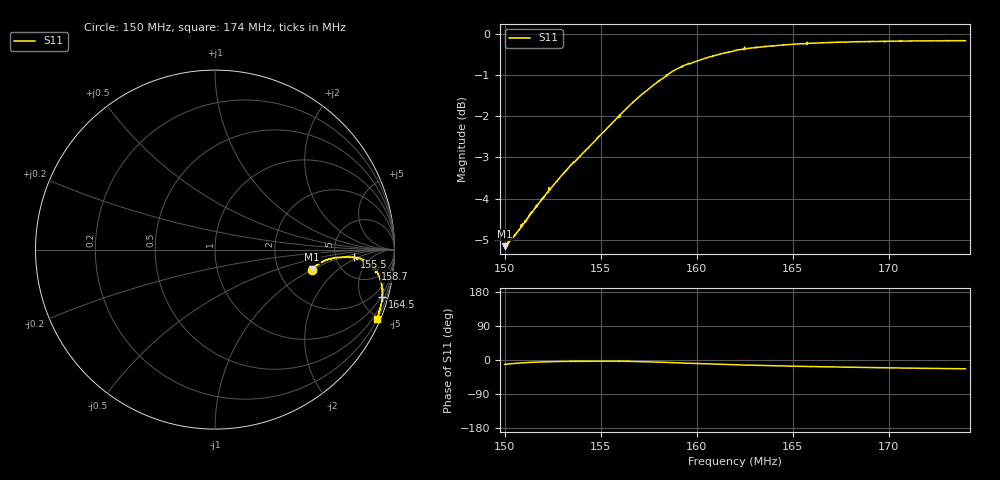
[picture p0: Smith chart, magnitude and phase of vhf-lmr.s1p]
! Calibrated averaged scanner-service zoom
# Hz S RI R 50
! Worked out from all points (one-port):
!   2001 points, 150 MHz to 174 MHz, reference 50 ohm
!   lowest |S11| = -5.1 dB at 150 MHz (marker M1), VSWR 3.47, Z = 156 - j49.7 ohm
!   |S11| at or under -10 dB: nowhere
!   S11 on the Smith chart (normalised r, x): 150 MHz: 3.13, -1.01; 155.5 MHz: 7.56, -1.63; 158.7 MHz: 8, -9; 164.5 MHz: 0.84, -7.12; 174 MHz: 0.25, -4.85
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1.5e8  0.5426 -0.1119
1.50012e8  0.5416 -0.1105
1.50132e8  0.5466 -0.1052
1.50612e8  0.5664 -0.086
1.51212e8  0.5942 -0.0693
1.521e8  0.6345 -0.0531
1.53e8  0.6731 -0.0447
1.54692e8  0.7397 -0.0408
1.5552e8  0.7745 -0.0429
1.56e8  0.7953 -0.0558
1.56144e8  0.8012 -0.0466
1.56516e8  0.8169 -0.0518
1.57284e8  0.8464 -0.0661
1.58076e8  0.8729 -0.0871
1.58688e8  0.8915 -0.107
1.59e8  0.899 -0.1173
1.5948e8  0.9079 -0.1332
1.60548e8  0.9199 -0.1652
1.62e8  0.9304 -0.2067
1.62384e8  0.9322 -0.2175
1.6308e8  0.9339 -0.2343
1.64496e8  0.9319 -0.2632
1.65e8  0.9311 -0.2725
1.66248e8  0.9282 -0.2944
1.68e8  0.9226 -0.3201
1.69272e8  0.9183 -0.3368
1.71e8  0.912 -0.3567
1.74e8  0.9005 -0.3863
